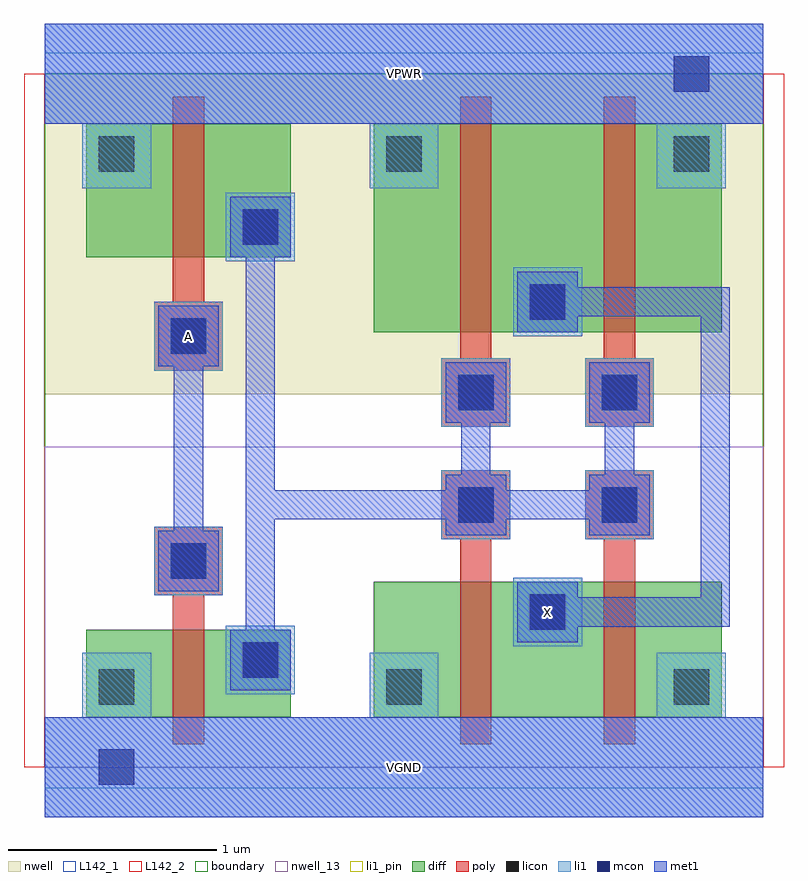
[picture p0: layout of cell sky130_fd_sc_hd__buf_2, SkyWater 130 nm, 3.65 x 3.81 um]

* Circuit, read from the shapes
.subckt sky130_fd_sc_hd__buf_2 A VGND VPWR X
XM1 n1 A VGND VSUBS sky130_fd_pr__nfet_01v8 w=0.42 l=0.15
XM2 X n1 VGND VSUBS sky130_fd_pr__nfet_01v8 w=0.65 l=0.15 m=2
XM3 n1 A VPWR n2 sky130_fd_pr__pfet_01v8 w=0.64 l=0.15
XM4 X n1 VPWR n2 sky130_fd_pr__pfet_01v8 w=1 l=0.15 m=2
.ends

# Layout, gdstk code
import gdstk
lib = gdstk.Library(unit=1e-6, precision=1e-09)
def R(c, l, rs):  # rectangles x0, y0, x1, y1
    for r in rs: c.add(gdstk.rectangle(r[:2], r[2:], *l))
def A(c, l, x, y, w, h, nx, ny, dx, dy):  # array of equal rectangles
    R(c, l, [(x+i*dx, y+j*dy, x+i*dx+w, y+j*dy+h) for i in range(nx) for j in range(ny)])
def P(c, l, *ps):  # polygons
    for p in ps: c.add(gdstk.Polygon(p, *l))
nwell_13 = (64, 13)
nwell = (64, 20)
diff = (65, 20)
poly = (66, 20)
licon = (66, 44)
li1_pin = (67, 16)
li1 = (67, 20)
mcon = (67, 44)
met1 = (68, 20)
L142_1 = (142, 1)
L142_2 = (142, 2)
boundary = (235, 4)

sky130_fd_sc_hd__buf_2 = lib.new_cell('sky130_fd_sc_hd__buf_2')
R(sky130_fd_sc_hd__buf_2, nwell_13, [(0,0,3.45,1.54)])
R(sky130_fd_sc_hd__buf_2, nwell, [(0,1.79,3.45,3.33)])
R(sky130_fd_sc_hd__buf_2, diff, [(0.2,0.24,1.18,0.66), (0.2,0.24,0.615,0.66), (0.615,0.24,1.18,0.66), (1.58,0.24,3.25,0.89), (1.58,0.24,1.995,0.89), (1.995,0.24,2.685,0.89), (2.685,0.24,3.25,0.89), (1.58,2.09,3.25,3.09), (1.58,2.09,1.995,3.09), (1.995,2.09,2.685,3.09), (2.685,2.09,3.25,3.09), (0.2,2.45,1.18,3.09), (0.2,2.45,0.615,3.09), (0.615,2.45,1.18,3.09)])
P(sky130_fd_sc_hd__buf_2, poly, [(0.615,0.11),(0.615,0.825),(0.525,0.825),(0.525,1.155),(0.855,1.155),(0.855,0.825),(0.765,0.825),(0.765,0.11)],
  [(0.525,1.905),(0.525,2.235),(0.615,2.235),(0.615,3.22),(0.765,3.22),(0.765,2.235),(0.855,2.235),(0.855,1.905)],
  [(1.995,0.11),(1.995,1.095),(1.905,1.095),(1.905,1.425),(2.235,1.425),(2.235,1.095),(2.145,1.095),(2.145,0.11)],
  [(2.685,0.11),(2.685,1.095),(2.595,1.095),(2.595,1.425),(2.925,1.425),(2.925,1.095),(2.835,1.095),(2.835,0.11)],
  [(1.905,1.635),(1.905,1.965),(1.995,1.965),(1.995,3.22),(2.145,3.22),(2.145,1.965),(2.235,1.965),(2.235,1.635)],
  [(2.595,1.635),(2.595,1.965),(2.685,1.965),(2.685,3.22),(2.835,3.22),(2.835,1.965),(2.925,1.965),(2.925,1.635)])
A(sky130_fd_sc_hd__buf_2, licon, 0.26, 0.3, 0.17, 0.17, 3, 2, 1.38, 2.56)
R(sky130_fd_sc_hd__buf_2, licon, [(0.95,0.43,1.12,0.6), (2.33,0.66,2.5,0.83), (0.605,0.905,0.775,1.075), (1.985,1.175,2.155,1.345), (2.675,1.175,2.845,1.345), (1.985,1.715,2.155,1.885), (2.675,1.715,2.845,1.885), (0.605,1.985,0.775,2.155), (2.33,2.15,2.5,2.32), (0.95,2.51,1.12,2.68)])
R(sky130_fd_sc_hd__buf_2, li1_pin, [(0,-0.24,3.45,0.24), (2.25,0.58,2.58,0.91), (0.525,1.905,0.855,2.235), (0,3.09,3.45,3.57)])
R(sky130_fd_sc_hd__buf_2, li1, [(0.87,0.35,1.2,0.68), (2.25,0.58,2.58,0.91), (0.525,0.825,0.855,1.155), (1.905,1.095,2.235,1.425), (2.595,1.095,2.925,1.425), (1.905,1.635,2.235,1.965), (2.595,1.635,2.925,1.965), (0.525,1.905,0.855,2.235), (2.25,2.07,2.58,2.4), (0.87,2.43,1.2,2.76)])
P(sky130_fd_sc_hd__buf_2, li1, [(0.18,2.78),(0.18,3.09),(0,3.09),(0,3.57),(3.45,3.57),(3.45,3.09),(3.27,3.09),(3.27,2.78),(2.94,2.78),(2.94,3.09),(1.89,3.09),(1.89,2.78),(1.56,2.78),(1.56,3.09),(0.51,3.09),(0.51,2.78)],
  [(0,-0.24),(0,0.24),(0.18,0.24),(0.18,0.55),(0.51,0.55),(0.51,0.24),(1.56,0.24),(1.56,0.55),(1.89,0.55),(1.89,0.24),(2.94,0.24),(2.94,0.55),(3.27,0.55),(3.27,0.24),(3.45,0.24),(3.45,-0.24)])
R(sky130_fd_sc_hd__buf_2, mcon, [(0.26,-0.085,0.43,0.085), (0.95,0.43,1.12,0.6), (2.33,0.66,2.5,0.83), (0.605,0.905,0.775,1.075), (1.985,1.175,2.155,1.345), (2.675,1.175,2.845,1.345), (1.985,1.715,2.155,1.885), (2.675,1.715,2.845,1.885), (0.605,1.985,0.775,2.155), (2.33,2.15,2.5,2.32), (0.95,2.51,1.12,2.68), (3.02,3.245,3.19,3.415)])
R(sky130_fd_sc_hd__buf_2, met1, [(0,-0.24,3.45,0.24), (0,3.09,3.45,3.57)])
P(sky130_fd_sc_hd__buf_2, met1, [(0.545,0.845),(0.545,1.135),(0.62,1.135),(0.62,1.925),(0.545,1.925),(0.545,2.215),(0.835,2.215),(0.835,1.925),(0.76,1.925),(0.76,1.135),(0.835,1.135),(0.835,0.845)],
  [(0.89,0.37),(0.89,0.66),(0.965,0.66),(0.965,2.45),(0.89,2.45),(0.89,2.74),(1.18,2.74),(1.18,2.45),(1.105,2.45),(1.105,1.33),(1.925,1.33),(1.925,1.405),(2,1.405),(2,1.655),(1.925,1.655),(1.925,1.945),(2.215,1.945),(2.215,1.655),(2.14,1.655),(2.14,1.405),(2.215,1.405),(2.215,1.33),(2.615,1.33),(2.615,1.405),(2.69,1.405),(2.69,1.655),(2.615,1.655),(2.615,1.945),(2.905,1.945),(2.905,1.655),(2.83,1.655),(2.83,1.405),(2.905,1.405),(2.905,1.115),(2.615,1.115),(2.615,1.19),(2.215,1.19),(2.215,1.115),(1.925,1.115),(1.925,1.19),(1.105,1.19),(1.105,0.66),(1.18,0.66),(1.18,0.37)],
  [(2.27,0.6),(2.27,0.89),(2.56,0.89),(2.56,0.815),(3.15,0.815),(3.15,2.165),(2.56,2.165),(2.56,2.09),(2.27,2.09),(2.27,2.38),(2.56,2.38),(2.56,2.305),(3.29,2.305),(3.29,0.675),(2.56,0.675),(2.56,0.6)])
R(sky130_fd_sc_hd__buf_2, L142_1, [(0,-0.1,3.45,0), (0,3.33,3.45,3.43)])
R(sky130_fd_sc_hd__buf_2, L142_2, [(-0.1,0,0,3.33), (3.45,0,3.55,3.33)])
R(sky130_fd_sc_hd__buf_2, boundary, [(0,0,3.45,3.33)])
sky130_fd_sc_hd__buf_2.add(gdstk.Label('X', (2.415,0.745), layer=67, texttype=5))
sky130_fd_sc_hd__buf_2.add(gdstk.Label('A', (0.69,2.07), layer=67, texttype=5))
sky130_fd_sc_hd__buf_2.add(gdstk.Label('VGND', (1.725,0), layer=67, texttype=5))
sky130_fd_sc_hd__buf_2.add(gdstk.Label('VPWR', (1.725,3.33), layer=67, texttype=5))
sky130_fd_sc_hd__buf_2.add(gdstk.Label('VGND', (1.725,0), layer=68, texttype=5))
sky130_fd_sc_hd__buf_2.add(gdstk.Label('VPWR', (1.725,3.33), layer=68, texttype=5))

lib.write_gds('sky130_fd_sc_hd__buf_2.gds')
